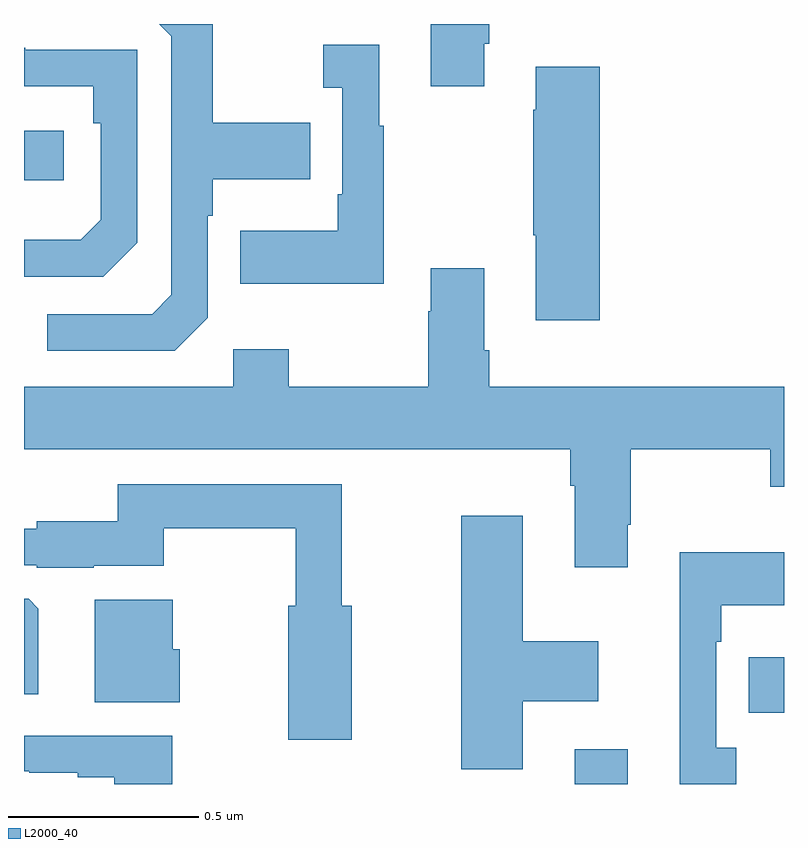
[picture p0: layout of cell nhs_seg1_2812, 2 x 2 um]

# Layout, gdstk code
import gdstk
lib = gdstk.Library(unit=1e-6, precision=1e-09)
def R(c, l, rs):  # rectangles x0, y0, x1, y1
    for r in rs: c.add(gdstk.rectangle(r[:2], r[2:], *l))
def P(c, l, *ps):  # polygons
    for p in ps: c.add(gdstk.Polygon(p, *l))
L2000_40 = (2000, 40)

nhs_seg1_2812 = lib.new_cell('nhs_seg1_2812')
R(nhs_seg1_2812, L2000_40, [(147.449,536.199,147.589,536.29), (147.907,536.386,148,536.533), (146,537.788,146.104,537.918)])
P(nhs_seg1_2812, L2000_40, [(146.484,537.426),(146.484,537.695),(146.497,537.695),(146.497,537.791),(146.753,537.791),(146.753,537.939),(146.497,537.939),(146.497,538.199),(146.356,538.199),(146.388,538.167),(146.388,537.486),(146.337,537.435),(146.061,537.435),(146.061,537.339),(146.397,537.339)],
  [(147.211,538.147),(147.224,538.147),(147.224,538.199),(147.071,538.199),(147.071,538.035),(147.211,538.035)],
  [(146.947,537.931),(146.935,537.931),(146.935,538.144),(146.787,538.144),(146.787,538.031),(146.838,538.031),(146.838,537.751),(146.826,537.751),(146.826,537.655),(146.569,537.655),(146.569,537.515),(146.947,537.515)],
  [(146.298,537.624),(146.298,538.131),(146.003,538.131),(146.003,538.136),(146,538.136),(146,538.035),(146.182,538.035),(146.182,537.938),(146.202,537.938),(146.202,537.684),(146.149,537.631),(146,537.631),(146,537.534),(146.208,537.534)],
  [(147.515,538.087),(147.347,538.087),(147.347,537.974),(147.34,537.974),(147.34,537.643),(147.347,537.643),(147.347,537.42),(147.515,537.42)],
  [(147.211,537.34),(147.211,537.556),(147.071,537.556),(147.071,537.443),(147.064,537.443),(147.064,537.244),(146.697,537.244),(146.697,537.343),(146.55,537.343),(146.55,537.244),(146,537.244),(146,537.08),(147.437,537.08),(147.437,536.984),(147.449,536.984),(147.449,536.769),(147.589,536.769),(147.589,536.881),(147.597,536.881),(147.597,537.08),(147.964,537.08),(147.964,536.981),(148,536.981),(148,537.244),(147.224,537.244),(147.224,537.34)],
  [(146.862,536.668),(146.836,536.668),(146.836,536.988),(146.247,536.988),(146.247,536.89),(146.034,536.89),(146.034,536.871),(146,536.871),(146,536.775),(146.034,536.775),(146.034,536.768),(146.184,536.768),(146.184,536.774),(146.368,536.774),(146.368,536.872),(146.715,536.872),(146.715,536.668),(146.696,536.668),(146.696,536.316),(146.862,536.316)],
  [(147.313,536.417),(147.511,536.417),(147.511,536.575),(147.313,536.575),(147.313,536.905),(147.151,536.905),(147.151,536.238),(147.313,536.238)],
  [(147.874,536.294),(147.822,536.294),(147.822,536.573),(147.835,536.573),(147.835,536.669),(148,536.669),(148,536.809),(147.725,536.809),(147.725,536.199),(147.874,536.199)],
  [(146.038,536.66),(146.012,536.686),(146,536.686),(146,536.435),(146.038,536.435)],
  [(146.41,536.553),(146.392,536.553),(146.392,536.684),(146.186,536.684),(146.186,536.414),(146.41,536.414)],
  [(146.39,536.326),(146,536.326),(146,536.232),(146.014,536.232),(146.014,536.229),(146.141,536.229),(146.141,536.217),(146.237,536.217),(146.237,536.199),(146.39,536.199)])

lib.write_gds('nhs_seg1_2812.gds')
